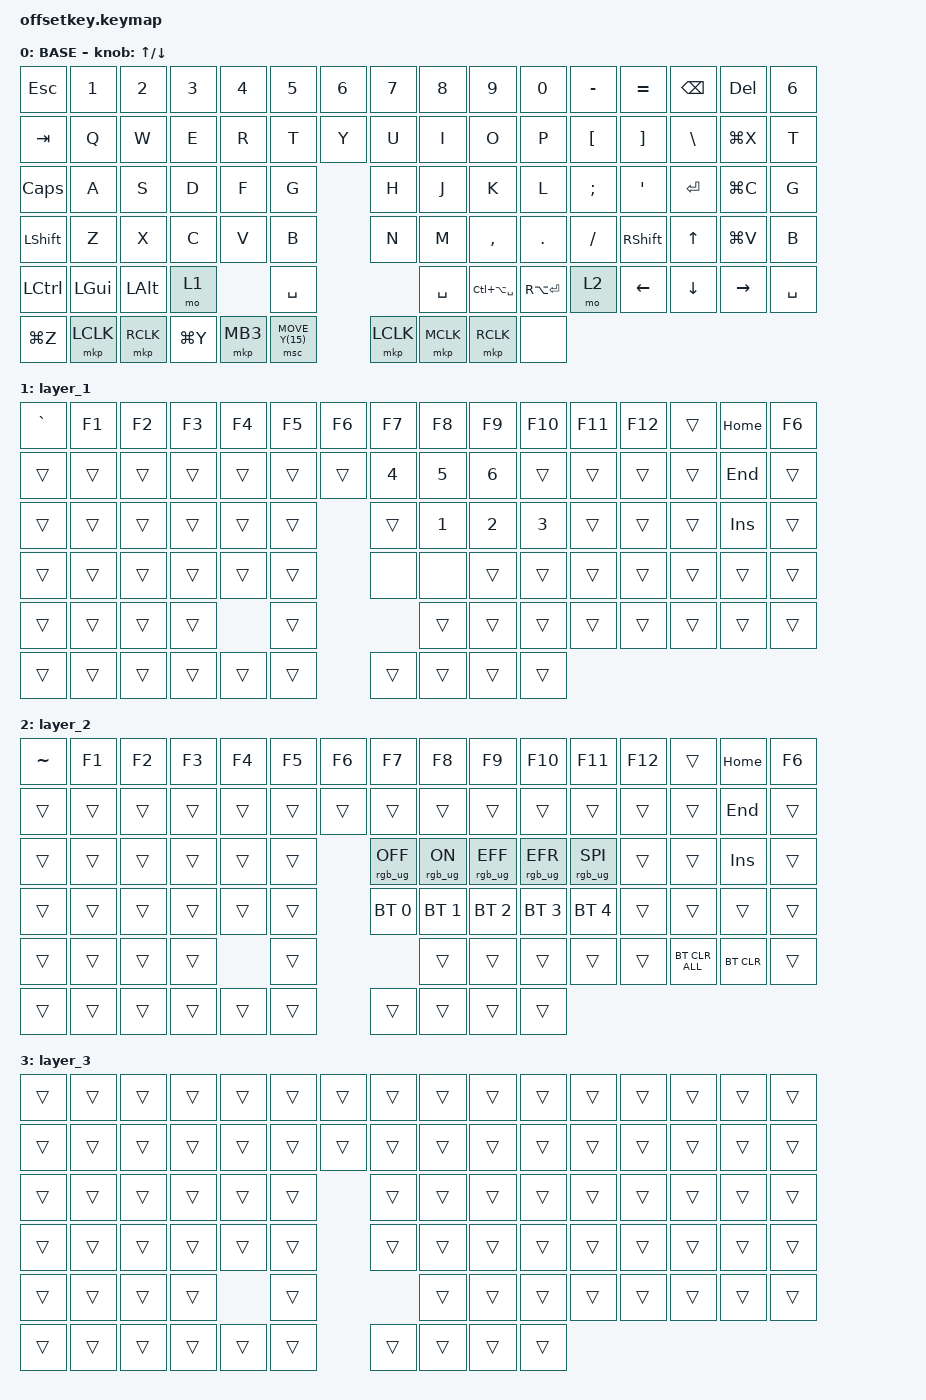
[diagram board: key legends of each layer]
#define BASE 0
#define LOWER 1
#define MOUSE_KEYS 2
#define MOUSE_TP 3
#define MOUSE_TP_SET 4

#include <zephyr/dt-bindings/input/input-event-codes.h>
#include <behaviors/toggle_io.dtsi>
#include <behaviors/on_io.dtsi>
#include <behaviors/off_io.dtsi>
#include <behaviors.dtsi>
#include <dt-bindings/zmk/bt.h>
#include <dt-bindings/zmk/keys.h>
#include <dt-bindings/zmk/pointing.h>
#include <dt-bindings/zmk/rgb.h>

/ {
    behaviors {
        ltq: ltq {
            compatible = "zmk,behavior-hold-tap";
            label = "LTQ";
            bindings = <&mo>, <&kp>;

            #binding-cells = <2>;
            tapping-term-ms = <200>;
            quick-tap-ms = <180>;
        };
    };

    combos {
        compatible = "zmk,combos";

        flash {
            bindings = <&bootloader>;
            key-positions = <0 11>;
        };
    };

    keymap {
        compatible = "zmk,keymap";

        BASE {
            bindings = <
&kp ESC    &kp N1        &kp N2        &kp N3     &kp N4    &kp N5           &kp N6      &kp N7     &kp N8     &kp N9             &kp N0       &kp MINUS  &kp EQUAL  &kp BSPC      &kp DELETE             &kp NUMBER_6
&kp TAB    &kp Q         &kp W         &kp E      &kp R     &kp T                        &kp Y      &kp U      &kp I              &kp O        &kp P      &kp LBKT   &kp RBKT      &kp BSLH    &kp LG(X)  &kp T
&kp CAPS   &kp A         &kp S         &kp D      &kp F     &kp G                        &kp H      &kp J      &kp K              &kp L        &kp SEMI   &kp APOS   &kp ENTER     &kp LG(C)              &kp G
&kp LSHFT  &kp Z         &kp X         &kp C      &kp V     &kp B                        &kp N      &kp M      &kp COMMA          &kp DOT      &kp FSLH   &kp RSHFT  &kp UP_ARROW  &kp LG(V)              &kp B
&kp LCTRL  &kp LEFT_GUI  &kp LEFT_ALT  &mo 1                &kp SPACE                               &kp SPACE  &kp LC(LA(SPACE))  &kp RA(RET)  &mo 2      &kp LEFT   &kp DOWN      &kp RIGHT              &kp SPACE
&kp LG(Z)  &mkp LCLK     &mkp RCLK     &kp LG(Y)  &mkp MB3  &msc MOVE_Y(15)              &mkp LCLK  &mkp MCLK  &mkp RCLK          &none
            >;

            label = "BASE";
            sensor-bindings = <&inc_dec_kp UP DOWN>;
        };

        layer_1 {
            bindings = <
&kp GRAVE  &kp F1  &kp F2  &kp F3  &kp F4  &kp F5  &kp F6      &kp F7  &kp F8        &kp F9        &kp F10       &kp F11  &kp F12  &trans  &kp HOME             &kp F6
&trans     &trans  &trans  &trans  &trans  &trans              &trans  &kp NUMBER_4  &kp NUMBER_5  &kp NUMBER_6  &trans   &trans   &trans  &trans      &kp END  &trans
&trans     &trans  &trans  &trans  &trans  &trans              &trans  &kp NUMBER_1  &kp NUMBER_2  &kp NUMBER_3  &trans   &trans   &trans  &kp INSERT           &trans
&trans     &trans  &trans  &trans  &trans  &trans              &none   &none         &trans        &trans        &trans   &trans   &trans  &trans               &trans
&trans     &trans  &trans  &trans          &trans                      &trans        &trans        &trans        &trans   &trans   &trans  &trans               &trans
&trans     &trans  &trans  &trans  &trans  &trans              &trans  &trans        &trans        &trans
            >;
        };

        layer_2 {
            bindings = <
&kp TILDE  &kp F1  &kp F2  &kp F3  &kp F4  &kp F5  &kp F6      &kp F7           &kp F8          &kp F9           &kp F10          &kp F11          &kp F12  &trans          &kp HOME             &kp F6
&trans     &trans  &trans  &trans  &trans  &trans              &trans           &trans          &trans           &trans           &trans           &trans   &trans          &trans      &kp END  &trans
&trans     &trans  &trans  &trans  &trans  &trans              &rgb_ug RGB_OFF  &rgb_ug RGB_ON  &rgb_ug RGB_EFF  &rgb_ug RGB_EFR  &rgb_ug RGB_SPI  &trans   &trans          &kp INSERT           &trans
&trans     &trans  &trans  &trans  &trans  &trans              &bt BT_SEL 0     &bt BT_SEL 1    &bt BT_SEL 2     &bt BT_SEL 3     &bt BT_SEL 4     &trans   &trans          &trans               &trans
&trans     &trans  &trans  &trans          &trans                               &trans          &trans           &trans           &trans           &trans   &bt BT_CLR_ALL  &bt BT_CLR           &trans
&trans     &trans  &trans  &trans  &trans  &trans              &trans           &trans          &trans           &trans
            >;
        };

        layer_3 {
            bindings = <
&trans  &trans  &trans  &trans  &trans  &trans  &trans      &trans  &trans  &trans  &trans  &trans  &trans  &trans  &trans          &trans
&trans  &trans  &trans  &trans  &trans  &trans              &trans  &trans  &trans  &trans  &trans  &trans  &trans  &trans  &trans  &trans
&trans  &trans  &trans  &trans  &trans  &trans              &trans  &trans  &trans  &trans  &trans  &trans  &trans  &trans          &trans
&trans  &trans  &trans  &trans  &trans  &trans              &trans  &trans  &trans  &trans  &trans  &trans  &trans  &trans          &trans
&trans  &trans  &trans  &trans          &trans                      &trans  &trans  &trans  &trans  &trans  &trans  &trans          &trans
&trans  &trans  &trans  &trans  &trans  &trans              &trans  &trans  &trans  &trans
            >;
        };
    };
};
